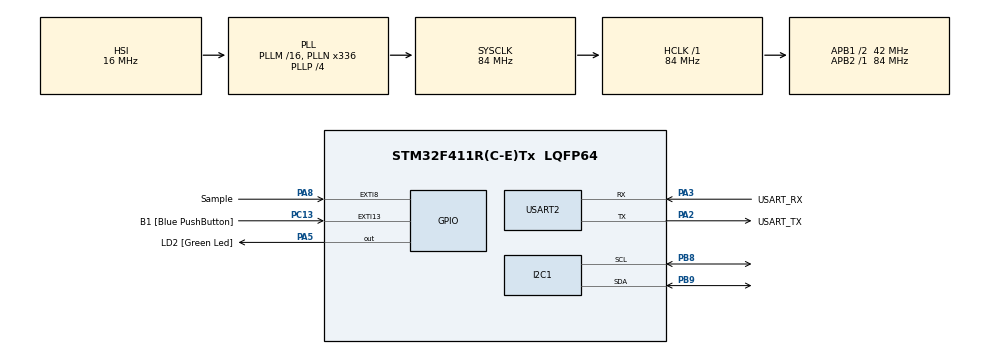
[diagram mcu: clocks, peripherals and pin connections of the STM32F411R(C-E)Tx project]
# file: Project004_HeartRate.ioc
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Mcu.Family=STM32F4
Mcu.Name=STM32F411R(C-E)Tx
Mcu.Package=LQFP64
NVIC.EXTI9_5_IRQn=true\:0\:0\:false\:false\:true\:true\:true\:true
NVIC.PriorityGroup=NVIC_PRIORITYGROUP_0
PA13.GPIO_Label=TMS
PA13.Mode=Serial_Wire
PA13.Signal=SYS_JTMS-SWDIO
PA14.GPIO_Label=TCK
PA14.Mode=Serial_Wire
PA14.Signal=SYS_JTCK-SWCLK
PA2.GPIO_Label=USART_TX
PA2.Mode=Asynchronous
PA2.Signal=USART2_TX
PA3.GPIO_Label=USART_RX
PA3.Mode=Asynchronous
PA3.Signal=USART2_RX
PA5.GPIO_Label=LD2 [Green Led]
PA5.Signal=GPIO_Output
PA8.GPIO_Label=Sample
PA8.GPIO_ModeDefaultEXTI=GPIO_MODE_IT_FALLING
PA8.Signal=GPXTI8
PB3.GPIO_Label=SWO
PB3.Signal=SYS_JTDO-SWO
PB8.GPIO_Pu=GPIO_PULLUP
PB8.Mode=I2C
PB8.Signal=I2C1_SCL
PB9.GPIO_Pu=GPIO_PULLUP
PB9.Mode=I2C
PB9.Signal=I2C1_SDA
PC13-ANTI_TAMP.GPIO_Label=B1 [Blue PushButton]
PC13-ANTI_TAMP.GPIO_ModeDefaultEXTI=GPIO_MODE_IT_FALLING
PC13-ANTI_TAMP.Signal=GPXTI13
PC14-OSC32_IN.Mode=LSE-External-Oscillator
PC14-OSC32_IN.Signal=RCC_OSC32_IN
PC15-OSC32_OUT.Mode=LSE-External-Oscillator
PC15-OSC32_OUT.Signal=RCC_OSC32_OUT
PH0\ -\ OSC_IN.Mode=HSE-External-Clock-Source
PH0\ -\ OSC_IN.Signal=RCC_OSC_IN
PH1\ -\ OSC_OUT.Mode=HSE-External-Clock-Source
PH1\ -\ OSC_OUT.Signal=RCC_OSC_OUT
ProjectManager.HeapSize=0x200
ProjectManager.StackSize=0x400
ProjectManager.TargetToolchain=STM32CubeIDE
RCC.48MHZClocksFreq_Value=84000000
RCC.AHBFreq_Value=84000000
RCC.APB1CLKDivider=RCC_HCLK_DIV2
RCC.APB1Freq_Value=42000000
RCC.APB1TimFreq_Value=84000000
RCC.APB2Freq_Value=84000000
RCC.APB2TimFreq_Value=84000000
RCC.CortexFreq_Value=84000000
RCC.FLatency-AdvancedSettings=FLASH_LATENCY_2
RCC.HCLKFreq_Value=84000000
RCC.HSE_VALUE=8000000
RCC.HSI_VALUE=16000000
RCC.PLLN=336
RCC.PLLP=RCC_PLLP_DIV4
RCC.SYSCLKFreq_VALUE=84000000
RCC.SYSCLKSource=RCC_SYSCLKSOURCE_PLLCLK
RCC.VCOOutputFreq_Value=336000000
USART2.VirtualMode=VM_ASYNC
board=NUCLEO-F411RE

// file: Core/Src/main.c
/* USER CODE BEGIN Header */
/**
  ******************************************************************************
  * @file           : main.c
  * @brief          : Main program body
  ******************************************************************************
  * @attention
  *
  * Copyright (c) 2025 STMicroelectronics.
  * All rights reserved.
  *
  * This software is licensed under terms that can be found in the LICENSE file
  * in the root directory of this software component.
  * If no LICENSE file comes with this software, it is provided AS-IS.
  *
  ******************************************************************************
  */
/* USER CODE END Header */
#include "main.h"

/* USER CODE BEGIN Includes */
#include <stdio.h>
#include <stdint.h>
#include <stdlib.h>
#include <math.h>

#define RATE_SIZE 20
//#include "stm32fxxx_hal.h"
/* USER CODE END Includes */

I2C_HandleTypeDef hi2c1;

UART_HandleTypeDef huart2;

void SystemClock_Config(void);
static void MX_GPIO_Init(void);
static void MX_USART2_UART_Init(void);
static void MX_I2C1_Init(void);

/* USER CODE BEGIN 0 */

uint16_t W_addr = 0xAE;
uint16_t R_addr = 0xAF;
uint8_t data;

/*void Moduleset()
{
    // Reset
    data = 0x40;
    HAL_I2C_Mem_Write(&hi2c1, W_addr, 0x09, 1, &data, 1, 1000);
    HAL_Delay(100);

    // FIFO Set
    data = 0xD0;  // 4 Sample Average: 32, RollOver Enable, Full Data Interrupt
    HAL_I2C_Mem_Write(&hi2c1, W_addr, 0x08, 1, &data, 1, 1000);
    HAL_Delay(10);

    // FIFO Pointer
    data = 0x00;
    HAL_I2C_Mem_Write(&hi2c1, W_addr, 0x04, 1, &data, 1, 1000);
    HAL_I2C_Mem_Write(&hi2c1, W_addr, 0x05, 1, &data, 1, 1000);
    HAL_I2C_Mem_Write(&hi2c1, W_addr, 0x06, 1, &data, 1, 1000);

    // Sampling Set - Sampling Rate : 200Hz, Pulse Width : 411μs
    // SpO2 ADC Range (00) : 2048
    // SpO2 Sampling Rate (010) : 200 samples per second
    // LED Pulse Width Control (11) : Pulse width 411, ADC Resolution 18 bit
    data = 0x0B;  // 0b00001011
    HAL_I2C_Mem_Write(&hi2c1, W_addr, 0x0A, 1, &data, 1, 1000);
    HAL_Delay(10);

    // LED Current set
    data = 0x10;  // MAX 50mA (0xFF) // 0x20: 6.4mA
    HAL_I2C_Mem_Write(&hi2c1, W_addr, 0x0C, 1, &data, 1, 1000);
    HAL_I2C_Mem_Write(&hi2c1, W_addr, 0x0D, 1, &data, 1, 1000);
    HAL_Delay(10);

    // Mode Set
    data = 0x03;  // 0x07 : Shutdown, 0x01 : IR, 0x02 : RED, 0x03 : Multi
    HAL_I2C_Mem_Write(&hi2c1, W_addr, 0x09, 1, &data, 1, 1000);
    HAL_Delay(10);

    // Part ID= 0x15
    HAL_I2C_Mem_Read(&hi2c1, W_addr, 0xFF, 1, &data, 1, 1000);
    printf("Part ID: 0x%02X\r\n", data);  // Default 0x15
}*/

void Moduleset()
{
    // Reset
    data = 0x40;
    HAL_I2C_Mem_Write(&hi2c1, W_addr, 0x09, 1, &data, 1, 1000);
    while(data & 0x40) {
    	HAL_I2C_Mem_Read(&hi2c1, R_addr, 0x09, 1, &data, 1, 1000);
    }
    HAL_Delay(10);

    // Interrupt Enable
    data = 0x40;  //
    HAL_I2C_Mem_Write(&hi2c1, W_addr, 0x02, 1, &data, 1, 1000);
    HAL_Delay(10);

    // FIFO Set
    data = 0x70;  // 4 Sample Average: 32, RollOver Enable, Full Data Interrupt
    HAL_I2C_Mem_Write(&hi2c1, W_addr, 0x08, 1, &data, 1, 1000);
    HAL_Delay(10);

    // FIFO Pointer
    data = 0x00;
    HAL_I2C_Mem_Write(&hi2c1, W_addr, 0x04, 1, &data, 1, 1000);
    HAL_I2C_Mem_Write(&hi2c1, W_addr, 0x05, 1, &data, 1, 1000);
    HAL_I2C_Mem_Write(&hi2c1, W_addr, 0x06, 1, &data, 1, 1000);

    // Sampling Set - Sampling Rate : 50Hz, Pulse Width : 411μs
    data = 0x2F;  // 0b00101111
    HAL_I2C_Mem_Write(&hi2c1, W_addr, 0x0A, 1, &data, 1, 1000);
    HAL_Delay(10);

    // LED Current set
    data = 0x1F;  // MAX 50mA (0xFF) // 0x20: 14.2mA
    HAL_I2C_Mem_Write(&hi2c1, W_addr, 0x0C, 1, &data, 1, 1000);
    HAL_I2C_Mem_Write(&hi2c1, W_addr, 0x0D, 1, &data, 1, 1000);
    HAL_I2C_Mem_Write(&hi2c1, W_addr, 0x10, 1, &data, 1, 1000);
    HAL_Delay(10);

    // Interrupt Clear
    HAL_I2C_Mem_Read(&hi2c1, R_addr, 0x00, 1, &data, 1, 1000);
    HAL_I2C_Mem_Read(&hi2c1, R_addr, 0x01, 1, &data, 1, 1000);

    // Mode Set
    data = 0x07;  // 0x07 : Shutdown, 0x01 : IR, 0x02 : RED, 0x03 : Multi
    HAL_I2C_Mem_Write(&hi2c1, W_addr, 0x09, 1, &data, 1, 1000);
    HAL_Delay(10);

    // Slot Set
	data = 0x21;  // Slot1 : RED, Slot2 : IR
	HAL_I2C_Mem_Write(&hi2c1, W_addr, 0x11, 1, &data, 1, 1000);
	HAL_Delay(10);

    // Part ID= 0x15
    HAL_I2C_Mem_Read(&hi2c1, W_addr, 0xFF, 1, &data, 1, 1000);
    printf("Part ID: 0x%02X\r\n", data);  // Default 0x15
}

uint8_t getUnreadSampleCount()
{
    uint8_t wr = 0, rd = 0;
    HAL_I2C_Mem_Read(&hi2c1, R_addr, 0x04, 1, &wr, 1, 10);
    HAL_I2C_Mem_Read(&hi2c1, R_addr, 0x06, 1, &rd, 1, 10);
    if ((wr - rd) < 0)
        return wr - rd + 32;
    else
        return wr - rd;
}

/*
void MAX30102_ReadHeartRate()
{
    uint8_t readPointer, writePointer;
    uint32_t redData, irData;

    // FIFO Pointer Location
    HAL_I2C_Mem_Read(&hi2c1, R_addr, 0x06, 1, &readPointer, 1, 1000);
    HAL_I2C_Mem_Read(&hi2c1, R_addr, 0x04, 1, &writePointer, 1, 1000);

    // Data Number
    int Sample = writePointer - readPointer;
    if (Sample < 0) Sample += 32; // MAX Number : 32

    // Data read
    if (Sample > 0) {
        uint8_t dataBuffer[6];

        // FIFO Data Read
        HAL_I2C_Mem_Read(&hi2c1, R_addr, 0x07, 1, dataBuffer, 6, 1000);

        // Data Transform
        redData = ((uint32_t)dataBuffer[0] << 16 | (uint32_t)dataBuffer[1] << 8 | dataBuffer[2]) & 0x03FFFF;
        irData = ((uint32_t)dataBuffer[3] << 16 | (uint32_t)dataBuffer[4] << 8 | dataBuffer[5]) & 0x03FFFF;

        printf("Heart Rate : %d\r\n", redData);
        //printf("\r\SpO2 Rate : %d\r\n", redData);
    }
}
*/

/*
#define BUFF_SIZE 50

uint8_t heartRate = 0, spo2 = 0;
uint16_t eachSampleDiff = 0;

uint32_t red_sampleBuffer[BUFF_SIZE];
uint32_t iRed_sampleBuffer[BUFF_SIZE];

void buffInsert(uint32_t red, uint32_t iRed)
{
    uint8_t i;
    for (i = BUFF_SIZE - 1; i > 0; i--)
    {
    	red_sampleBuffer[i] = red_sampleBuffer[i - 1];
    	iRed_sampleBuffer[i] = iRed_sampleBuffer[i - 1];
    }
    red_sampleBuffer[0] = red;
    iRed_sampleBuffer[0] = iRed;
}

uint16_t redAC = 0;
uint32_t redDC = 0;
uint16_t iRedAC = 0;
uint32_t iRedDC = 0;

void calAcDc(uint16_t *rac, uint32_t *rdc, uint16_t *iac, uint32_t *idc)
{
    uint32_t rMax = red_sampleBuffer[0];
    uint32_t rMin = red_sampleBuffer[0];
    uint32_t iMax = iRed_sampleBuffer[0];
    uint32_t iMin = iRed_sampleBuffer[0];

    uint8_t i;
    for (i = 0; i < BUFF_SIZE; i++)
    {
        if (red_sampleBuffer[i] > rMax)
            rMax = red_sampleBuffer[i];
        if (red_sampleBuffer[i] < rMin)
            rMin = red_sampleBuffer[i];
        if (iRed_sampleBuffer[i] > iMax)
            iMax = iRed_sampleBuffer[i];
        if (iRed_sampleBuffer[i] < iMin)
            iMin = iRed_sampleBuffer[i];
    }
    *rac = rMax - rMin;
    *rdc = (rMax + rMin) / 2;
    *iac = iMax - iMin;
    *idc = (iMax + iMin) / 2;
}

#define FILTER_LEVEL 8
void filter(uint32_t *red, uint32_t *iRed)
{
    uint32_t red_t = 0;
    uint32_t iRed_t = 0;
    for (int i = 0; i < FILTER_LEVEL - 1; i++)
    {
    	red_t += red_sampleBuffer[i];
        iRed_t += iRed_sampleBuffer[i];
    }
    *red = (red_t + *red) / FILTER_LEVEL;
    *iRed = (iRed_t + *iRed) / FILTER_LEVEL;
}

void MAX30102_ReadHeartRate()
{
    uint32_t redData = 0;
    int unreadSampleCount = getUnreadSampleCount(); // 1 ~ 32

    // FIFO Pointer Location
    //HAL_I2C_Mem_Read(&hi2c1, R_addr, 0x06, 1, &readPointer, 1, 1000);
    //HAL_I2C_Mem_Read(&hi2c1, R_addr, 0x04, 1, &writePointer, 1, 1000);

    // Data Number
    //int Sample = writePointer - readPointer;
    //if (Sample < 0) Sample += 32; // MAX Number : 32

    // Data read
    //if (Sample > 0) {
    uint8_t temp_dataBuffer[6 * unreadSampleCount];
    uint32_t red_dataBuffer[unreadSampleCount];
    uint32_t iRed_dataBuffer[unreadSampleCount];

        // FIFO Data Read
        HAL_I2C_Mem_Read(&hi2c1, R_addr, 0x07, 1, temp_dataBuffer, 6 * unreadSampleCount, 1000);

        // Data Transform
        for(int i = 0; i < unreadSampleCount; i++) {
        	red_dataBuffer[i] += (((uint32_t)temp_dataBuffer[(6 * i) + 0] << 16) | ((uint32_t)temp_dataBuffer[(6 * i) + 1] << 8) | (uint32_t)temp_dataBuffer[(6 * i) + 2]) & 0x03FFFF;
        	iRed_dataBuffer[i] += (((uint32_t)temp_dataBuffer[(6 * i) + 3] << 16) | ((uint32_t)temp_dataBuffer[(6 * i) + 4] << 8) | (uint32_t)temp_dataBuffer[(6 * i) + 5]) & 0x03FFFF;
        }

        static uint8_t eachBeatSampleCount = 0;
        static uint8_t lastTenBeatSampleCount[10];
        static uint32_t last_iRed = 0;

        for (int i = 0; i < unreadSampleCount; i++)
            {
                if (iRed_dataBuffer[i] < 40000) //?��?��?��不�?�算，跳�?
                {
                    heartRate = 0;
                    spo2 = 0;
                    eachSampleDiff = 0;
                    continue;
                }
                buffInsert(red_dataBuffer[i], iRed_dataBuffer[i]);
                calAcDc(&redAC, &redDC, &iRedAC, &iRedDC);
                filter(&red_dataBuffer[i], &iRed_dataBuffer[i]);
                //计算spo2
                float R = (((float)(redAC)) / ((float)(redDC))) / (((float)(iRedAC)) / ((float)(iRedDC)));
                printf("R : %f\r\n", R);
                if (R >= 0.36 && R < 0.66){
                	spo2 = (uint8_t)(107 - 20 * R);
                	printf("spo2-1 : %d\r\n", spo2);
                }
                else if (R >= 0.66 && R < 1) {
                	spo2 = (uint8_t)(129.64 - 54 * R);
                	printf("spo2-2 : %d\r\n", spo2);
                }
                //计算心率,30-250ppm  count:200-12
                eachSampleDiff = last_iRed - iRed_dataBuffer[i];
                if (eachSampleDiff > 50 && eachBeatSampleCount > 12)
                {
                    for (int j = 9; j > 0; j--) {
                    	lastTenBeatSampleCount[i] = lastTenBeatSampleCount[i - 1];
                    }
                    lastTenBeatSampleCount[0] = eachBeatSampleCount;
                    uint32_t totalTime = 0;
                    for (int j = 0; j < 10; j++) {
                    	totalTime += lastTenBeatSampleCount[i];
                    }
                    heartRate = (uint8_t)(60.0 * 10 / 0.02 / ((float)totalTime));
                    eachBeatSampleCount = 0;
                }
                last_iRed = iRed_dataBuffer[i];
                eachBeatSampleCount++;
            }

        //redData = ((redData_h << 16) | (redData_m << 8) | redData_l) & 0x03FFFF;

        //printf("Heart Rate : %d\r\n", heartRate);
        //printf("spo2 : %d\r\n", spo2);
    //}
}*/
int last_ms = 0, BPM = 0;
void MAX30102_ReadHeartRate()
{
    uint8_t wr = 0, rd = 0;
    int now_ms = HAL_GetTick();
    int unreadSampleCount = getUnreadSampleCount(); // 1 ~ 32
    int beatCount = 0;
    uint32_t red_dataBuffer[unreadSampleCount];
    uint8_t temp_dataBuffer[3 * unreadSampleCount];

    //printf("unreadSampleCount: %d\r\n", unreadSampleCount);

    // Operating Check
	/*HAL_I2C_Mem_Read(&hi2c1, R_addr, 0x04, 1, &wr, 1, 10);
	HAL_I2C_Mem_Read(&hi2c1, R_addr, 0x06, 1, &rd, 1, 10);
	printf("wr1: %d, rd1: %d\r\n", wr, rd);*/

    // FIFO Data Read
    HAL_I2C_Mem_Read(&hi2c1, R_addr, 0x07, 1, temp_dataBuffer, 3 * unreadSampleCount, 1000);

    // Data Transform
	for(int i = 0; i < unreadSampleCount; i++) {
		red_dataBuffer[i] = (((uint32_t)temp_dataBuffer[(3 * i) + 0] << 16) | ((uint32_t)temp_dataBuffer[(3 * i) + 1] << 8) | (uint32_t)temp_dataBuffer[(3 * i) + 2]) & 0x03FFFF;
	}

    // Operating Check
    /*HAL_I2C_Mem_Read(&hi2c1, R_addr, 0x04, 1, &wr, 1, 10);
	HAL_I2C_Mem_Read(&hi2c1, R_addr, 0x06, 1, &rd, 1, 10);
	printf("wr2: %d, rd2: %d\r\n\r\n", wr, rd);*/

	for(int i = 0; i < unreadSampleCount; i++) {
		printf("red_data_%d: %d\r\n", i, red_dataBuffer[i]);
		if(red_dataBuffer[i] > 15000) {
			beatCount++;
		}
	}
	//printf("\r\n");

	//printf("beatCount: %d, time: %dms\r\n", beatCount, (now_ms - last_ms));

    BPM = (beatCount * 1000 * 60) / (now_ms - last_ms);
    //printf("BPM: %d\r\n", BPM);

    last_ms = now_ms;
    beatCount = 0;
}

int getIR() {
	uint8_t temp_dataBuffer[6];

	HAL_I2C_Mem_Read(&hi2c1, R_addr, 0x07, 1, temp_dataBuffer, 6, 1000);

	return (((uint32_t)temp_dataBuffer[0] << 16) | ((uint32_t)temp_dataBuffer[1] << 8) | (uint32_t)temp_dataBuffer[2]) & 0x03FFFF;
}

void i2c_scan()
{
   for(int addr=0; addr<256; addr++)
   {
      if(HAL_I2C_IsDeviceReady(&hi2c1, addr, 1, 10 /* ms*/) == HAL_OK)
      {
         printf("  %02x ", addr);
      }
      else
      {
         printf("  .  ");
      }
      if((addr % 16) == 15)   printf("\r\n");
   }
}

/* USER CODE END 0 */

int main(void)
{

  /* MCU Configuration--------------------------------------------------------*/

  /* Reset of all peripherals, Initializes the Flash interface and the Systick. */
  HAL_Init();

  /* Configure the system clock */
  SystemClock_Config();

  /* Initialize all configured peripherals */
  MX_GPIO_Init();
  MX_USART2_UART_Init();
  MX_I2C1_Init();
  /* USER CODE BEGIN 2 */

  ProgramStart("Pulse Oximeter Test");
  i2c_scan();
  //Moduleset();

  max30102_init();

  // LED Current set
  data = 0x0A;  // MAX 50mA (0xFF) // 0x20: 14.2mA
  HAL_I2C_Mem_Write(&hi2c1, W_addr, 0x0C, 1, &data, 1, 1000);

  /* USER CODE END 2 */

  /* Infinite loop */
  /* USER CODE BEGIN WHILE */
  //uint8_t interrupt;
  int rates[RATE_SIZE] = {0, };
  int rateSpot = 0;
  int beatAvg = 0;
  int lastBeat = 0;
  //int cnt = 0;
  while (1)
  {
	  int IRValue = getIR();
	  /*cnt++;
	  if(cnt == 30) {
		  printf("%d\r\n", IRValue);
		  cnt = 0;
	  }*/

	  if(checkForBeat(IRValue)) {
		  int delta = HAL_GetTick() - lastBeat;
		  lastBeat = HAL_GetTick();

		  int beatsPerMinute = 60000 / delta;

		  if ((beatsPerMinute < 255) && (beatsPerMinute > 20)) {
			rates[rateSpot++] = beatsPerMinute; //Store this reading in the array
			rateSpot %= RATE_SIZE; //Wrap variable

			//Take average of readings
			for (int x = 0 ; x < RATE_SIZE ; x++){
				beatAvg += rates[x];
			}
			beatAvg /= RATE_SIZE;
			printf("IRValue: %5d, BPM: %3d, avg_BPM: %3d\r\n", IRValue, beatsPerMinute, beatAvg);
		  }
	  }
  	  /*HAL_I2C_Mem_Read(&hi2c1, R_addr, 0x00, 1, &interrupt, 1, 1000);
  	  //printf("interrupt: 0x%x\r\n", interrupt);
  	  if((interrupt & 0x40)) {
  		  MAX30102_ReadHeartRate();
  	  }
  	  //HAL_Delay(20);*/
    /* USER CODE END WHILE */

	          uint8_t spo2 = max30102_getSpO2();
	          uint8_t heartRate = max30102_getHeartRate();

	          printf("Heart Rate: %d BPM, SpO2: %d%%\r\n", heartRate, spo2);

	          HAL_Delay(1000); // 1초마다 데이터 전송
  }
}

void SystemClock_Config(void)
{
  RCC_OscInitTypeDef RCC_OscInitStruct = {0};
  RCC_ClkInitTypeDef RCC_ClkInitStruct = {0};

  /** Configure the main internal regulator output voltage
  */
  __HAL_RCC_PWR_CLK_ENABLE();
  __HAL_PWR_VOLTAGESCALING_CONFIG(PWR_REGULATOR_VOLTAGE_SCALE1);

  /** Initializes the RCC Oscillators according to the specified parameters
  * in the RCC_OscInitTypeDef structure.
  */
  RCC_OscInitStruct.OscillatorType = RCC_OSCILLATORTYPE_HSI;
  RCC_OscInitStruct.HSIState = RCC_HSI_ON;
  RCC_OscInitStruct.HSICalibrationValue = RCC_HSICALIBRATION_DEFAULT;
  RCC_OscInitStruct.PLL.PLLState = RCC_PLL_ON;
  RCC_OscInitStruct.PLL.PLLSource = RCC_PLLSOURCE_HSI;
  RCC_OscInitStruct.PLL.PLLM = 16;
  RCC_OscInitStruct.PLL.PLLN = 336;
  RCC_OscInitStruct.PLL.PLLP = RCC_PLLP_DIV4;
  RCC_OscInitStruct.PLL.PLLQ = 4;
  if (HAL_RCC_OscConfig(&RCC_OscInitStruct) != HAL_OK)
  {
    Error_Handler();
  }

  /** Initializes the CPU, AHB and APB buses clocks
  */
  RCC_ClkInitStruct.ClockType = RCC_CLOCKTYPE_HCLK|RCC_CLOCKTYPE_SYSCLK
                              |RCC_CLOCKTYPE_PCLK1|RCC_CLOCKTYPE_PCLK2;
  RCC_ClkInitStruct.SYSCLKSource = RCC_SYSCLKSOURCE_PLLCLK;
  RCC_ClkInitStruct.AHBCLKDivider = RCC_SYSCLK_DIV1;
  RCC_ClkInitStruct.APB1CLKDivider = RCC_HCLK_DIV2;
  RCC_ClkInitStruct.APB2CLKDivider = RCC_HCLK_DIV1;

  if (HAL_RCC_ClockConfig(&RCC_ClkInitStruct, FLASH_LATENCY_2) != HAL_OK)
  {
    Error_Handler();
  }
}

static void MX_I2C1_Init(void)
{

  hi2c1.Instance = I2C1;
  hi2c1.Init.ClockSpeed = 100000;
  hi2c1.Init.DutyCycle = I2C_DUTYCYCLE_2;
  hi2c1.Init.OwnAddress1 = 0;
  hi2c1.Init.AddressingMode = I2C_ADDRESSINGMODE_7BIT;
  hi2c1.Init.DualAddressMode = I2C_DUALADDRESS_DISABLE;
  hi2c1.Init.OwnAddress2 = 0;
  hi2c1.Init.GeneralCallMode = I2C_GENERALCALL_DISABLE;
  hi2c1.Init.NoStretchMode = I2C_NOSTRETCH_DISABLE;
  if (HAL_I2C_Init(&hi2c1) != HAL_OK)
  {
    Error_Handler();
  }

}

static void MX_USART2_UART_Init(void)
{

  huart2.Instance = USART2;
  huart2.Init.BaudRate = 115200;
  huart2.Init.WordLength = UART_WORDLENGTH_8B;
  huart2.Init.StopBits = UART_STOPBITS_1;
  huart2.Init.Parity = UART_PARITY_NONE;
  huart2.Init.Mode = UART_MODE_TX_RX;
  huart2.Init.HwFlowCtl = UART_HWCONTROL_NONE;
  huart2.Init.OverSampling = UART_OVERSAMPLING_16;
  if (HAL_UART_Init(&huart2) != HAL_OK)
  {
    Error_Handler();
  }

}

static void MX_GPIO_Init(void)
{
  GPIO_InitTypeDef GPIO_InitStruct = {0};

  /* GPIO Ports Clock Enable */
  __HAL_RCC_GPIOC_CLK_ENABLE();
  __HAL_RCC_GPIOH_CLK_ENABLE();
  __HAL_RCC_GPIOA_CLK_ENABLE();
  __HAL_RCC_GPIOB_CLK_ENABLE();

  /*Configure GPIO pin Output Level */
  HAL_GPIO_WritePin(LD2_GPIO_Port, LD2_Pin, GPIO_PIN_RESET);

  /*Configure GPIO pin : B1_Pin */
  GPIO_InitStruct.Pin = B1_Pin;
  GPIO_InitStruct.Mode = GPIO_MODE_IT_FALLING;
  GPIO_InitStruct.Pull = GPIO_NOPULL;
  HAL_GPIO_Init(B1_GPIO_Port, &GPIO_InitStruct);

  /*Configure GPIO pin : LD2_Pin */
  GPIO_InitStruct.Pin = LD2_Pin;
  GPIO_InitStruct.Mode = GPIO_MODE_OUTPUT_PP;
  GPIO_InitStruct.Pull = GPIO_NOPULL;
  GPIO_InitStruct.Speed = GPIO_SPEED_FREQ_LOW;
  HAL_GPIO_Init(LD2_GPIO_Port, &GPIO_InitStruct);

  /*Configure GPIO pin : Sample_Pin */
  GPIO_InitStruct.Pin = Sample_Pin;
  GPIO_InitStruct.Mode = GPIO_MODE_IT_FALLING;
  GPIO_InitStruct.Pull = GPIO_NOPULL;
  HAL_GPIO_Init(Sample_GPIO_Port, &GPIO_InitStruct);

  /* EXTI interrupt init*/
  HAL_NVIC_SetPriority(EXTI9_5_IRQn, 0, 0);
  HAL_NVIC_EnableIRQ(EXTI9_5_IRQn);

}

void Error_Handler(void)
{
  __disable_irq();
  while (1)
  {
  }
}
